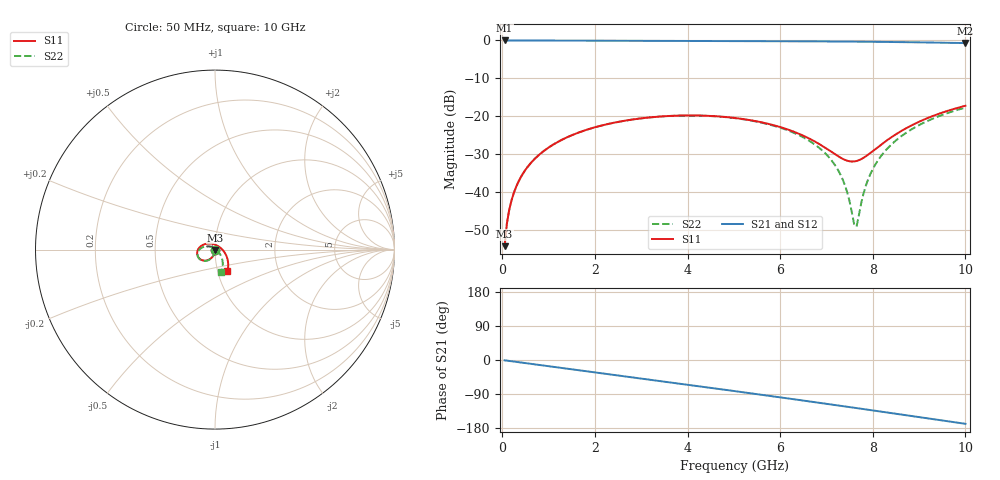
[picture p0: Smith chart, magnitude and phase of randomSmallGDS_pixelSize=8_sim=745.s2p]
! freq	dB(S11)	phase(S11)	dB(S12)	phase(S12)
!  dB(S21)	phase(S21)	dB(S22)	phase(S22)
!S-par simulation data
#  GHz  S  DB  R 50
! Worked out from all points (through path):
!   200 points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, 50 MHz to 10 GHz, reference 50 ohm
!   highest |S21| = 0.00 dB at 50 MHz (marker M1); lowest = -0.7 dB at 10 GHz (marker M2)
!   group delay of S21, straight-line fit = 46.6 ps
!   lowest |S11| = -54.2 dB at 50 MHz (marker M3), VSWR 1.00, Z = 50 - j0.195 ohm
!   |S11| at or under -10 dB: start of sweep to end of sweep
!   |S22| runs from -54.2 to -17.7 dB; largest |S21 - S12| = 0
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0.05  -54.18 -90.5  -0.00 -0.8  -0.00 -0.8  -54.17 -90.4
0.1  -48.14 -91.9  -0.00 -1.7  -0.00 -1.7  -48.13 -91.8
0.2  -42.07 -94.0  -0.00 -3.3  -0.00 -3.3  -42.07 -93.8
0.35  -37.17 -96.7  -0.00 -5.8  -0.00 -5.8  -37.18 -96.4
0.5  -34.07 -99.2  -0.01 -8.2  -0.01 -8.2  -34.08 -98.9
1  -28.20 -107.7  -0.02 -16.4  -0.02 -16.4  -28.20 -107.1
1.75  -23.82 -120.4  -0.05 -28.6  -0.05 -28.6  -23.82 -119.3
3.4  -20.04 -148.7  -0.11 -55.5  -0.11 -55.5  -20.05 -146.1
5.05  -20.45 -179.5  -0.16 -82.6  -0.16 -82.6  -20.50 -173.5
6  -22.80 158.7  -0.20 -98.5  -0.20 -98.5  -22.98 169.9
6.7  -26.29 135.4  -0.24 -110.4  -0.24 -110.4  -26.99 156.5
7.05  -28.87 116.0  -0.26 -116.5  -0.26 -116.5  -30.71 148.2
7.3  -30.84 94.2  -0.28 -120.8  -0.28 -120.8  -35.28 139.3
7.45  -31.68 76.6  -0.29 -123.4  -0.29 -123.4  -40.06 128.2
7.6  -31.87 56.6  -0.31 -126.0  -0.31 -126.0  -48.57 80.5
7.65  -31.75 49.8  -0.31 -126.9  -0.31 -126.9  -49.01 37.7
7.8  -30.91 31.0  -0.33 -129.5  -0.33 -129.5  -40.32 -17.7
7.9  -30.08 20.3  -0.34 -131.3  -0.34 -131.3  -36.57 -26.8
8.1  -28.20 3.3  -0.36 -134.8  -0.36 -134.8  -31.80 -35.9
8.35  -25.93 -11.7  -0.39 -139.2  -0.39 -139.2  -28.02 -42.9
9.05  -21.14 -37.4  -0.50 -151.5  -0.50 -151.5  -21.99 -57.6
10  -17.20 -60.0  -0.69 -168.4  -0.69 -168.4  -17.69 -75.1
